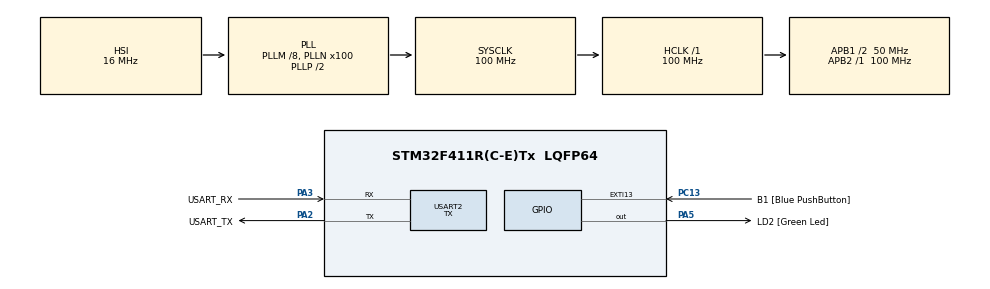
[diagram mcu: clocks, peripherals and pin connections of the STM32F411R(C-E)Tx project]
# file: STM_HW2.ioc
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Mcu.Family=STM32F4
Mcu.Name=STM32F411R(C-E)Tx
Mcu.Package=LQFP64
NVIC.PriorityGroup=NVIC_PRIORITYGROUP_0
PA13.GPIO_Label=TMS
PA13.Mode=Serial_Wire
PA13.Signal=SYS_JTMS-SWDIO
PA14.GPIO_Label=TCK
PA14.Mode=Serial_Wire
PA14.Signal=SYS_JTCK-SWCLK
PA2.GPIO_Label=USART_TX
PA2.Mode=Asynchronous
PA2.Signal=USART2_TX
PA3.GPIO_Label=USART_RX
PA3.Mode=Asynchronous
PA3.Signal=USART2_RX
PA5.GPIO_Label=LD2 [Green Led]
PA5.Signal=GPIO_Output
PB3.GPIO_Label=SWO
PB3.Signal=SYS_JTDO-SWO
PC13-ANTI_TAMP.GPIO_Label=B1 [Blue PushButton]
PC13-ANTI_TAMP.GPIO_ModeDefaultEXTI=GPIO_MODE_IT_FALLING
PC13-ANTI_TAMP.Signal=GPXTI13
PC14-OSC32_IN.Mode=LSE-External-Oscillator
PC14-OSC32_IN.Signal=RCC_OSC32_IN
PC15-OSC32_OUT.Mode=LSE-External-Oscillator
PC15-OSC32_OUT.Signal=RCC_OSC32_OUT
PH0\ -\ OSC_IN.Mode=HSE-External-Clock-Source
PH0\ -\ OSC_IN.Signal=RCC_OSC_IN
PH1\ -\ OSC_OUT.Mode=HSE-External-Clock-Source
PH1\ -\ OSC_OUT.Signal=RCC_OSC_OUT
ProjectManager.HeapSize=0x200
ProjectManager.StackSize=0x400
ProjectManager.TargetToolchain=STM32CubeIDE
RCC.48MHZClocksFreq_Value=50000000
RCC.AHBFreq_Value=100000000
RCC.APB1CLKDivider=RCC_HCLK_DIV2
RCC.APB1Freq_Value=50000000
RCC.APB1TimFreq_Value=100000000
RCC.APB2Freq_Value=100000000
RCC.APB2TimFreq_Value=100000000
RCC.CortexFreq_Value=100000000
RCC.FLatency-AdvancedSettings=FLASH_LATENCY_3
RCC.HCLKFreq_Value=100000000
RCC.HSE_VALUE=8000000
RCC.HSI_VALUE=16000000
RCC.PLLM=8
RCC.PLLN=100
RCC.SYSCLKFreq_VALUE=100000000
RCC.SYSCLKSource=RCC_SYSCLKSOURCE_PLLCLK
RCC.VCOOutputFreq_Value=200000000
TIM3.Period=10000
TIM3.Prescaler=10000
USART2.Mode=MODE_TX
USART2.VirtualMode=VM_ASYNC
VP_TIM3_VS_ClockSourceINT.Mode=Internal
board=NUCLEO-F411RE

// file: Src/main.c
/* USER CODE BEGIN Header */
/**
  ******************************************************************************
  * @file           : main.c
  * @brief          : Main program body
  ******************************************************************************
  * @attention
  *
  * <h2><center>&copy; Copyright (c) 2020 STMicroelectronics.
  * All rights reserved.</center></h2>
  *
  * This software component is licensed by ST under BSD 3-Clause license,
  * the "License"; You may not use this file except in compliance with the
  * License. You may obtain a copy of the License at:
  *                        opensource.org/licenses/BSD-3-Clause
  *
  ******************************************************************************
  */
/* USER CODE END Header */

#include "main.h"

/* USER CODE BEGIN Includes */
#include <stdio.h>
#include <string.h>
/* USER CODE END Includes */

TIM_HandleTypeDef htim3;

UART_HandleTypeDef huart2;

void SystemClock_Config(void);
static void MX_GPIO_Init(void);
static void MX_USART2_UART_Init(void);
static void MX_TIM3_Init(void);

/* USER CODE BEGIN 0 */
uint32_t count=0;	//timer counter
uint32_t second=0; 	// Initial hour:minute:second values
uint32_t minute=0;	// You can change them and
uint32_t hour=0;	// you can start the clock from anywhere you want.
char time[20];

//Reads timer counter and each 1 second updates clock values
void eachSecond(){
	count=__HAL_TIM_GET_COUNTER(&htim3);
	if(count == 10000){
		++second;
		if(second==60){
			second=0;
			++minute;
			if(minute==60){
				minute=0;
				++hour;
				if(hour==24){
					hour=0;
				}
			}
		}
	}
}
/* USER CODE END 0 */

int main(void)
{

  /* MCU Configuration--------------------------------------------------------*/

  /* Reset of all peripherals, Initializes the Flash interface and the Systick. */
  HAL_Init();

  /* Configure the system clock */
  SystemClock_Config();

  /* Initialize all configured peripherals */
  MX_GPIO_Init();
  MX_USART2_UART_Init();
  MX_TIM3_Init();
  /* USER CODE BEGIN 2 */
  HAL_TIM_Base_Start(&htim3);	//Start Timer3
  /* USER CODE END 2 */

  /* Infinite loop */
  /* USER CODE BEGIN WHILE */
  while (1)
  {

	 eachSecond();
	 if(count % 5000 == 0){		//refresh view every 0.5 second
		 sprintf(time, "  %02lu:%02lu:%02lu\r", hour,minute,second);
		 HAL_UART_Transmit(&huart2,time, sizeof time, 100);
		 memset(time, 0, sizeof time);
	 }

    /* USER CODE END WHILE */

  }
}

void SystemClock_Config(void)
{
  RCC_OscInitTypeDef RCC_OscInitStruct = {0};
  RCC_ClkInitTypeDef RCC_ClkInitStruct = {0};

  /** Configure the main internal regulator output voltage
  */
  __HAL_RCC_PWR_CLK_ENABLE();
  __HAL_PWR_VOLTAGESCALING_CONFIG(PWR_REGULATOR_VOLTAGE_SCALE1);
  /** Initializes the CPU, AHB and APB busses clocks
  */
  RCC_OscInitStruct.OscillatorType = RCC_OSCILLATORTYPE_HSI;
  RCC_OscInitStruct.HSIState = RCC_HSI_ON;
  RCC_OscInitStruct.HSICalibrationValue = RCC_HSICALIBRATION_DEFAULT;
  RCC_OscInitStruct.PLL.PLLState = RCC_PLL_ON;
  RCC_OscInitStruct.PLL.PLLSource = RCC_PLLSOURCE_HSI;
  RCC_OscInitStruct.PLL.PLLM = 8;
  RCC_OscInitStruct.PLL.PLLN = 100;
  RCC_OscInitStruct.PLL.PLLP = RCC_PLLP_DIV2;
  RCC_OscInitStruct.PLL.PLLQ = 4;
  if (HAL_RCC_OscConfig(&RCC_OscInitStruct) != HAL_OK)
  {
    Error_Handler();
  }
  /** Initializes the CPU, AHB and APB busses clocks
  */
  RCC_ClkInitStruct.ClockType = RCC_CLOCKTYPE_HCLK|RCC_CLOCKTYPE_SYSCLK
                              |RCC_CLOCKTYPE_PCLK1|RCC_CLOCKTYPE_PCLK2;
  RCC_ClkInitStruct.SYSCLKSource = RCC_SYSCLKSOURCE_PLLCLK;
  RCC_ClkInitStruct.AHBCLKDivider = RCC_SYSCLK_DIV1;
  RCC_ClkInitStruct.APB1CLKDivider = RCC_HCLK_DIV2;
  RCC_ClkInitStruct.APB2CLKDivider = RCC_HCLK_DIV1;

  if (HAL_RCC_ClockConfig(&RCC_ClkInitStruct, FLASH_LATENCY_3) != HAL_OK)
  {
    Error_Handler();
  }
}

static void MX_TIM3_Init(void)
{

  TIM_ClockConfigTypeDef sClockSourceConfig = {0};
  TIM_MasterConfigTypeDef sMasterConfig = {0};

  htim3.Instance = TIM3;
  htim3.Init.Prescaler = 10000;
  htim3.Init.CounterMode = TIM_COUNTERMODE_UP;
  htim3.Init.Period = 10000;
  htim3.Init.ClockDivision = TIM_CLOCKDIVISION_DIV1;
  htim3.Init.AutoReloadPreload = TIM_AUTORELOAD_PRELOAD_DISABLE;
  if (HAL_TIM_Base_Init(&htim3) != HAL_OK)
  {
    Error_Handler();
  }
  sClockSourceConfig.ClockSource = TIM_CLOCKSOURCE_INTERNAL;
  if (HAL_TIM_ConfigClockSource(&htim3, &sClockSourceConfig) != HAL_OK)
  {
    Error_Handler();
  }
  sMasterConfig.MasterOutputTrigger = TIM_TRGO_RESET;
  sMasterConfig.MasterSlaveMode = TIM_MASTERSLAVEMODE_DISABLE;
  if (HAL_TIMEx_MasterConfigSynchronization(&htim3, &sMasterConfig) != HAL_OK)
  {
    Error_Handler();
  }

}

static void MX_USART2_UART_Init(void)
{

  huart2.Instance = USART2;
  huart2.Init.BaudRate = 115200;
  huart2.Init.WordLength = UART_WORDLENGTH_8B;
  huart2.Init.StopBits = UART_STOPBITS_1;
  huart2.Init.Parity = UART_PARITY_NONE;
  huart2.Init.Mode = UART_MODE_TX;
  huart2.Init.HwFlowCtl = UART_HWCONTROL_NONE;
  huart2.Init.OverSampling = UART_OVERSAMPLING_16;
  if (HAL_UART_Init(&huart2) != HAL_OK)
  {
    Error_Handler();
  }

}

static void MX_GPIO_Init(void)
{
  GPIO_InitTypeDef GPIO_InitStruct = {0};

  /* GPIO Ports Clock Enable */
  __HAL_RCC_GPIOC_CLK_ENABLE();
  __HAL_RCC_GPIOH_CLK_ENABLE();
  __HAL_RCC_GPIOA_CLK_ENABLE();
  __HAL_RCC_GPIOB_CLK_ENABLE();

  /*Configure GPIO pin Output Level */
  HAL_GPIO_WritePin(LD2_GPIO_Port, LD2_Pin, GPIO_PIN_RESET);

  /*Configure GPIO pin : B1_Pin */
  GPIO_InitStruct.Pin = B1_Pin;
  GPIO_InitStruct.Mode = GPIO_MODE_IT_FALLING;
  GPIO_InitStruct.Pull = GPIO_NOPULL;
  HAL_GPIO_Init(B1_GPIO_Port, &GPIO_InitStruct);

  /*Configure GPIO pin : LD2_Pin */
  GPIO_InitStruct.Pin = LD2_Pin;
  GPIO_InitStruct.Mode = GPIO_MODE_OUTPUT_PP;
  GPIO_InitStruct.Pull = GPIO_NOPULL;
  GPIO_InitStruct.Speed = GPIO_SPEED_FREQ_LOW;
  HAL_GPIO_Init(LD2_GPIO_Port, &GPIO_InitStruct);

}

void Error_Handler(void)
{
}

/************************ (C) COPYRIGHT STMicroelectronics *****END OF FILE****/
